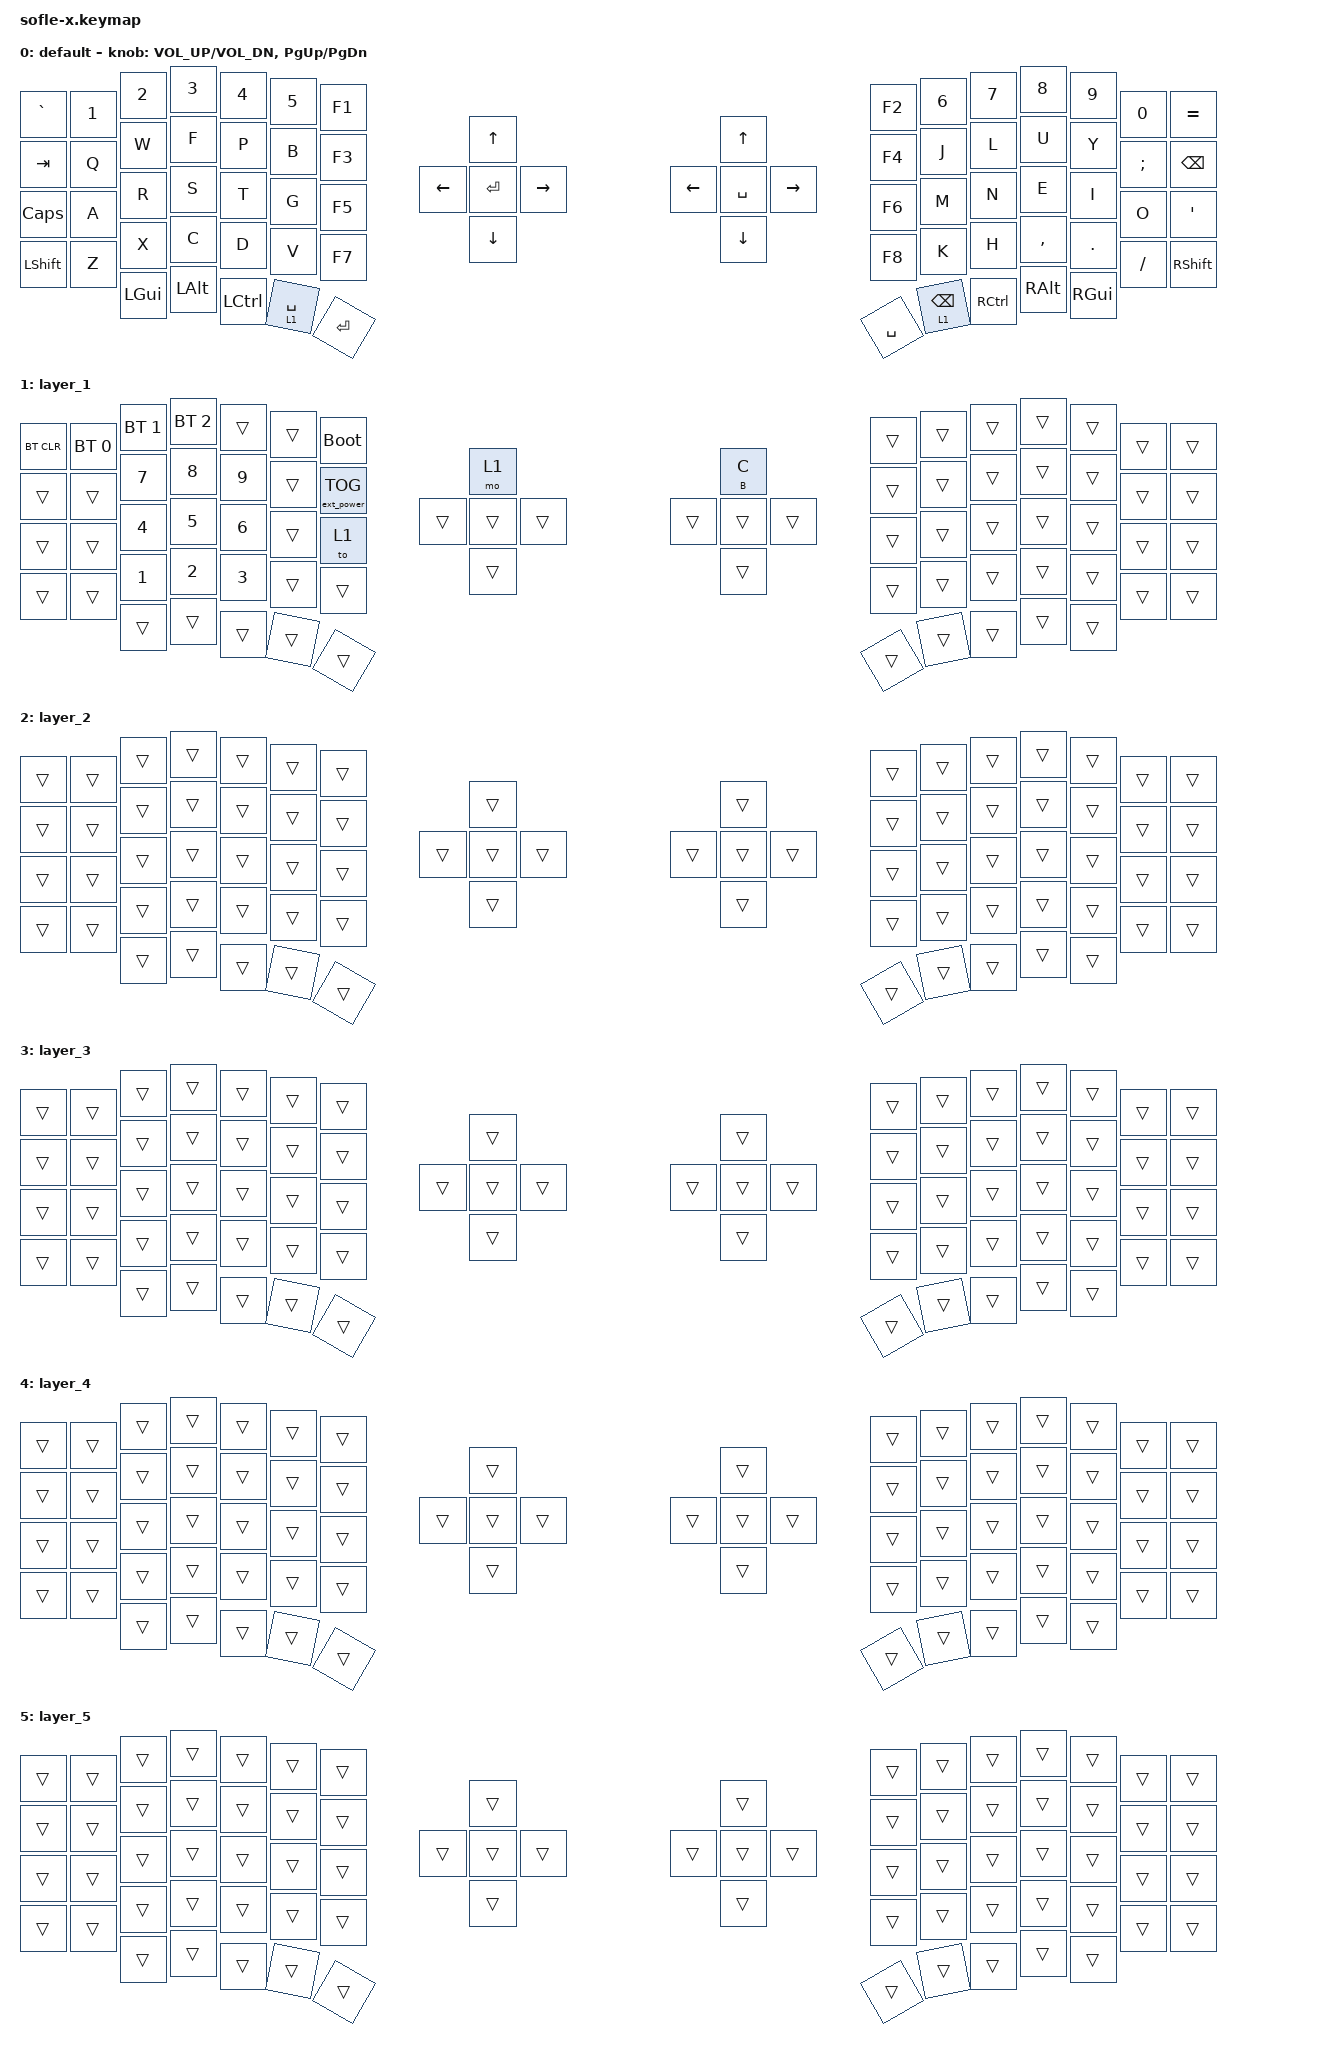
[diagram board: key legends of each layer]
/*
 * Copyright (c) 2020 The ZMK Contributors
 *
 * SPDX-License-Identifier: MIT
 */

#ifndef ZMK_BEHAVIORS_KEEP_ALL
#define ZMK_BEHAVIORS_KEEP_ALL
#endif
#include <behaviors.dtsi>
#include <dt-bindings/zmk/bt.h>
#include <dt-bindings/zmk/ext_power.h>
#include <dt-bindings/zmk/keys.h>

#define BASE 0
#define LOWER 1
#define RAISE 2
#define ADJUST 3

/ {
    // Activate ADJUST layer by pressing raise and lower

    conditional_layers {
        compatible = "zmk,conditional-layers";

        adjust_layer {
            if-layers = <1 2>;
            then-layer = <3>;
        };
    };

    macros {
        say_hi: say_hi {
            compatible = "zmk,behavior-macro";
            #binding-cells = <0>;
            bindings = <&kp H &kp I>;
        };
    };

    keymap {
        compatible = "zmk,keymap";

        default_layer {
            display-name = "default";
            bindings = <
&kp GRAVE  &kp N1  &kp N2        &kp N3    &kp N4     &kp N5       &kp F1       &kp F2     &kp N6           &kp N7     &kp N8     &kp N9        &kp N0    &kp EQUAL
&kp TAB    &kp Q   &kp W         &kp F     &kp P      &kp B        &kp F3       &kp F4     &kp J            &kp L      &kp U      &kp Y         &kp SEMI  &kp BSPC
&kp CAPS   &kp A   &kp R         &kp S     &kp T      &kp G        &kp F5       &kp F6     &kp M            &kp N      &kp E      &kp I         &kp O     &kp APOS
&kp LSHFT  &kp Z   &kp X         &kp C     &kp D      &kp V        &kp F7       &kp F8     &kp K            &kp H      &kp COMMA  &kp DOT       &kp FSLH  &kp RSHFT
                   &kp LGUI      &kp LALT  &kp LCTRL  &lt 1 SPACE  &kp RET      &kp SPACE  &lt 1 BACKSPACE  &kp RCTRL  &kp RALT   &kp RGUI
                   &kp UP_ARROW  &kp LEFT  &kp DOWN   &kp RIGHT    &kp RET      &kp SPACE  &kp RIGHT        &kp DOWN   &kp LEFT   &kp UP_ARROW
            >;

            sensor-bindings = <&inc_dec_kp C_VOL_UP C_VOL_DN &inc_dec_kp PG_UP PG_DN>;
        };

        layer_1 {
            bindings = <
&bt BT_CLR  &bt BT_SEL 0  &bt BT_SEL 1  &bt BT_SEL 2  &trans  &trans  &bootloader            &trans  &trans  &trans  &trans  &trans   &trans  &trans
&trans      &trans        &kp N7        &kp N8        &kp N9  &trans  &ext_power EP_TOG      &trans  &trans  &trans  &trans  &trans   &trans  &trans
&trans      &trans        &kp N4        &kp N5        &kp N6  &trans  &to 1                  &trans  &trans  &trans  &trans  &trans   &trans  &trans
&trans      &trans        &kp N1        &kp N2        &kp N3  &trans  &trans                 &trans  &trans  &trans  &trans  &trans   &trans  &trans
                          &trans        &trans        &trans  &trans  &trans                 &trans  &trans  &trans  &trans  &trans
                          &mo 1         &trans        &trans  &trans  &trans                 &trans  &trans  &trans  &trans  &mt B C
            >;
        };

        layer_2 {
            bindings = <
&trans  &trans  &trans  &trans  &trans  &trans  &trans      &trans  &trans  &trans  &trans  &trans  &trans  &trans
&trans  &trans  &trans  &trans  &trans  &trans  &trans      &trans  &trans  &trans  &trans  &trans  &trans  &trans
&trans  &trans  &trans  &trans  &trans  &trans  &trans      &trans  &trans  &trans  &trans  &trans  &trans  &trans
&trans  &trans  &trans  &trans  &trans  &trans  &trans      &trans  &trans  &trans  &trans  &trans  &trans  &trans
                &trans  &trans  &trans  &trans  &trans      &trans  &trans  &trans  &trans  &trans
                &trans  &trans  &trans  &trans  &trans      &trans  &trans  &trans  &trans  &trans
            >;
        };

        layer_3 {
            bindings = <
&trans  &trans  &trans  &trans  &trans  &trans  &trans      &trans  &trans  &trans  &trans  &trans  &trans  &trans
&trans  &trans  &trans  &trans  &trans  &trans  &trans      &trans  &trans  &trans  &trans  &trans  &trans  &trans
&trans  &trans  &trans  &trans  &trans  &trans  &trans      &trans  &trans  &trans  &trans  &trans  &trans  &trans
&trans  &trans  &trans  &trans  &trans  &trans  &trans      &trans  &trans  &trans  &trans  &trans  &trans  &trans
                &trans  &trans  &trans  &trans  &trans      &trans  &trans  &trans  &trans  &trans
                &trans  &trans  &trans  &trans  &trans      &trans  &trans  &trans  &trans  &trans
            >;
        };

        layer_4 {
            bindings = <
&trans  &trans  &trans  &trans  &trans  &trans  &trans      &trans  &trans  &trans  &trans  &trans  &trans  &trans
&trans  &trans  &trans  &trans  &trans  &trans  &trans      &trans  &trans  &trans  &trans  &trans  &trans  &trans
&trans  &trans  &trans  &trans  &trans  &trans  &trans      &trans  &trans  &trans  &trans  &trans  &trans  &trans
&trans  &trans  &trans  &trans  &trans  &trans  &trans      &trans  &trans  &trans  &trans  &trans  &trans  &trans
                &trans  &trans  &trans  &trans  &trans      &trans  &trans  &trans  &trans  &trans
                &trans  &trans  &trans  &trans  &trans      &trans  &trans  &trans  &trans  &trans
            >;
        };

        layer_5 {
            bindings = <
&trans  &trans  &trans  &trans  &trans  &trans  &trans      &trans  &trans  &trans  &trans  &trans  &trans  &trans
&trans  &trans  &trans  &trans  &trans  &trans  &trans      &trans  &trans  &trans  &trans  &trans  &trans  &trans
&trans  &trans  &trans  &trans  &trans  &trans  &trans      &trans  &trans  &trans  &trans  &trans  &trans  &trans
&trans  &trans  &trans  &trans  &trans  &trans  &trans      &trans  &trans  &trans  &trans  &trans  &trans  &trans
                &trans  &trans  &trans  &trans  &trans      &trans  &trans  &trans  &trans  &trans
                &trans  &trans  &trans  &trans  &trans      &trans  &trans  &trans  &trans  &trans
            >;
        };
    };
};
